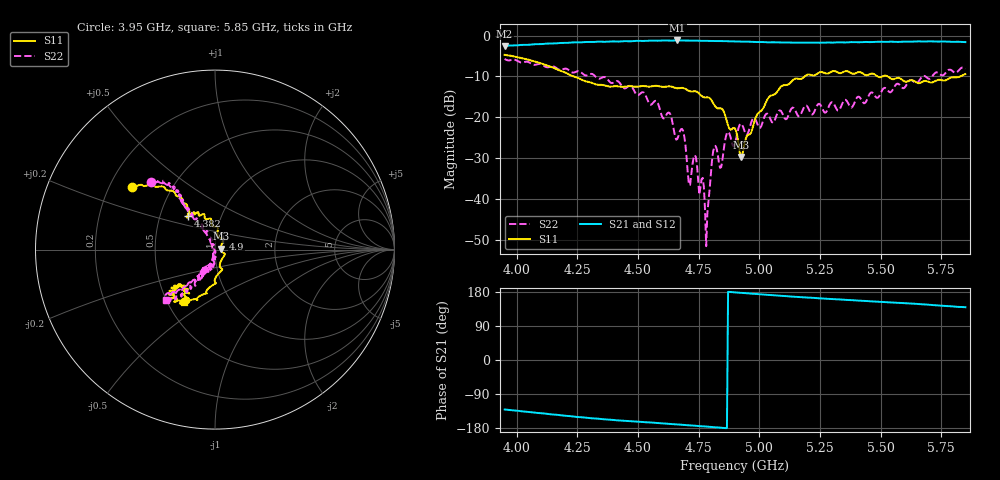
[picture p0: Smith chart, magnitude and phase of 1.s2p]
!Keysight Technologies,N5227A,US56070638,A.10.60.06
!Date: Monday, July 16, 2018 20:45:56
!Correction: S11(Full 2 Port(1,2))
!S21(Full 2 Port(1,2))
!S12(Full 2 Port(1,2))
!S22(Full 2 Port(1,2))
!S2P File: Measurements: S11, S21, S12, S22:
# Hz S  dB  R 50
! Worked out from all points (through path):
!   401 points, 3.95 GHz to 5.85 GHz, reference 50 ohm
!   highest |S21| = -1.17 dB at 4.662 GHz (marker M1); lowest = -2.5 dB at 3.95 GHz (marker M2)
!   lowest |S11| = -29.8 dB at 4.924 GHz (marker M3), VSWR 1.07, Z = 53.3 + j0.531 ohm
!   |S11| at or under -10 dB: 4.235 GHz to 5.187 GHz (952.3 MHz wide, 20.2 % of centre); 5.487882 GHz to 5.507656 GHz (19.77 MHz wide, 0.36 % of centre); 5.53 GHz to 5.829 GHz (299.2 MHz wide, 5.27 % of centre)
!   |S22| runs from -51.6 to -5.7 dB; largest |S21 - S12| = 0.0016
!   S11 on the Smith chart (normalised r, x): 3.95 GHz: 0.29, +0.31; 4.382 GHz: 0.70, +0.28; 4.9 GHz: 1.09, +0.13; 5.85 GHz: 0.61, -0.40
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3.95e9  -4.69 142.9  -2.51 -130.6  -2.51 -130.6  -5.70 133.2
4.26825e9  -10.79 122.4  -1.62 -151.1  -1.62 -151.1  -9.12 124.7
4.38225e9  -12.48 128.5  -1.41 -157.3  -1.42 -157.3  -11.24 124.9
4.5865e9  -12.39 123.5  -1.23 -166.7  -1.23 -166.7  -17.28 120.6
4.62925e9  -12.40 120.0  -1.21 -168.7  -1.21 -168.7  -18.89 115.6
4.6625e9  -12.89 120.2  -1.17 -170.0  -1.17 -169.9  -25.30 108.4
4.68625e9  -12.82 114.3  -1.20 -171.4  -1.20 -171.3  -23.37 115.3
4.71e9  -13.52 115.3  -1.20 -172.2  -1.20 -172.2  -36.53 114.2
4.73375e9  -13.61 108.8  -1.21 -173.5  -1.22 -173.5  -29.27 112.8
4.786e9  -15.10 99.9  -1.26 -176.0  -1.26 -176.0  -43.50 165.0
4.8145e9  -16.97 97.8  -1.31 -177.3  -1.31 -177.3  -27.23 -91.2
4.83825e9  -17.77 86.5  -1.31 -178.5  -1.32 -178.5  -32.39 -99.5
4.86675e9  -21.04 81.3  -1.38 -179.9  -1.37 -179.9  -23.84 -93.2
4.9e9  -22.73 51.8  -1.40 178.4  -1.40 178.4  -26.48 -105.6
4.92375e9  -29.75 8.8  -1.46 177.3  -1.46 177.3  -21.56 -93.9
4.9475e9  -24.77 -22.1  -1.46 176.2  -1.46 176.1  -24.32 -101.6
4.976e9  -21.85 -69.3  -1.54 174.7  -1.54 174.7  -20.20 -97.2
5.0045e9  -18.57 -69.9  -1.54 173.4  -1.54 173.4  -22.56 -106.0
5.0425e9  -14.91 -90.1  -1.63 171.7  -1.63 171.6  -19.95 -99.9
5.21825e9  -9.71 -116.5  -1.69 164.2  -1.69 164.2  -19.32 -118.1
5.5365e9  -10.29 -135.1  -1.49 152.1  -1.49 152.1  -13.82 -122.0
5.85e9  -9.42 -121.0  -1.57 139.2  -1.58 139.2  -8.13 -134.0
